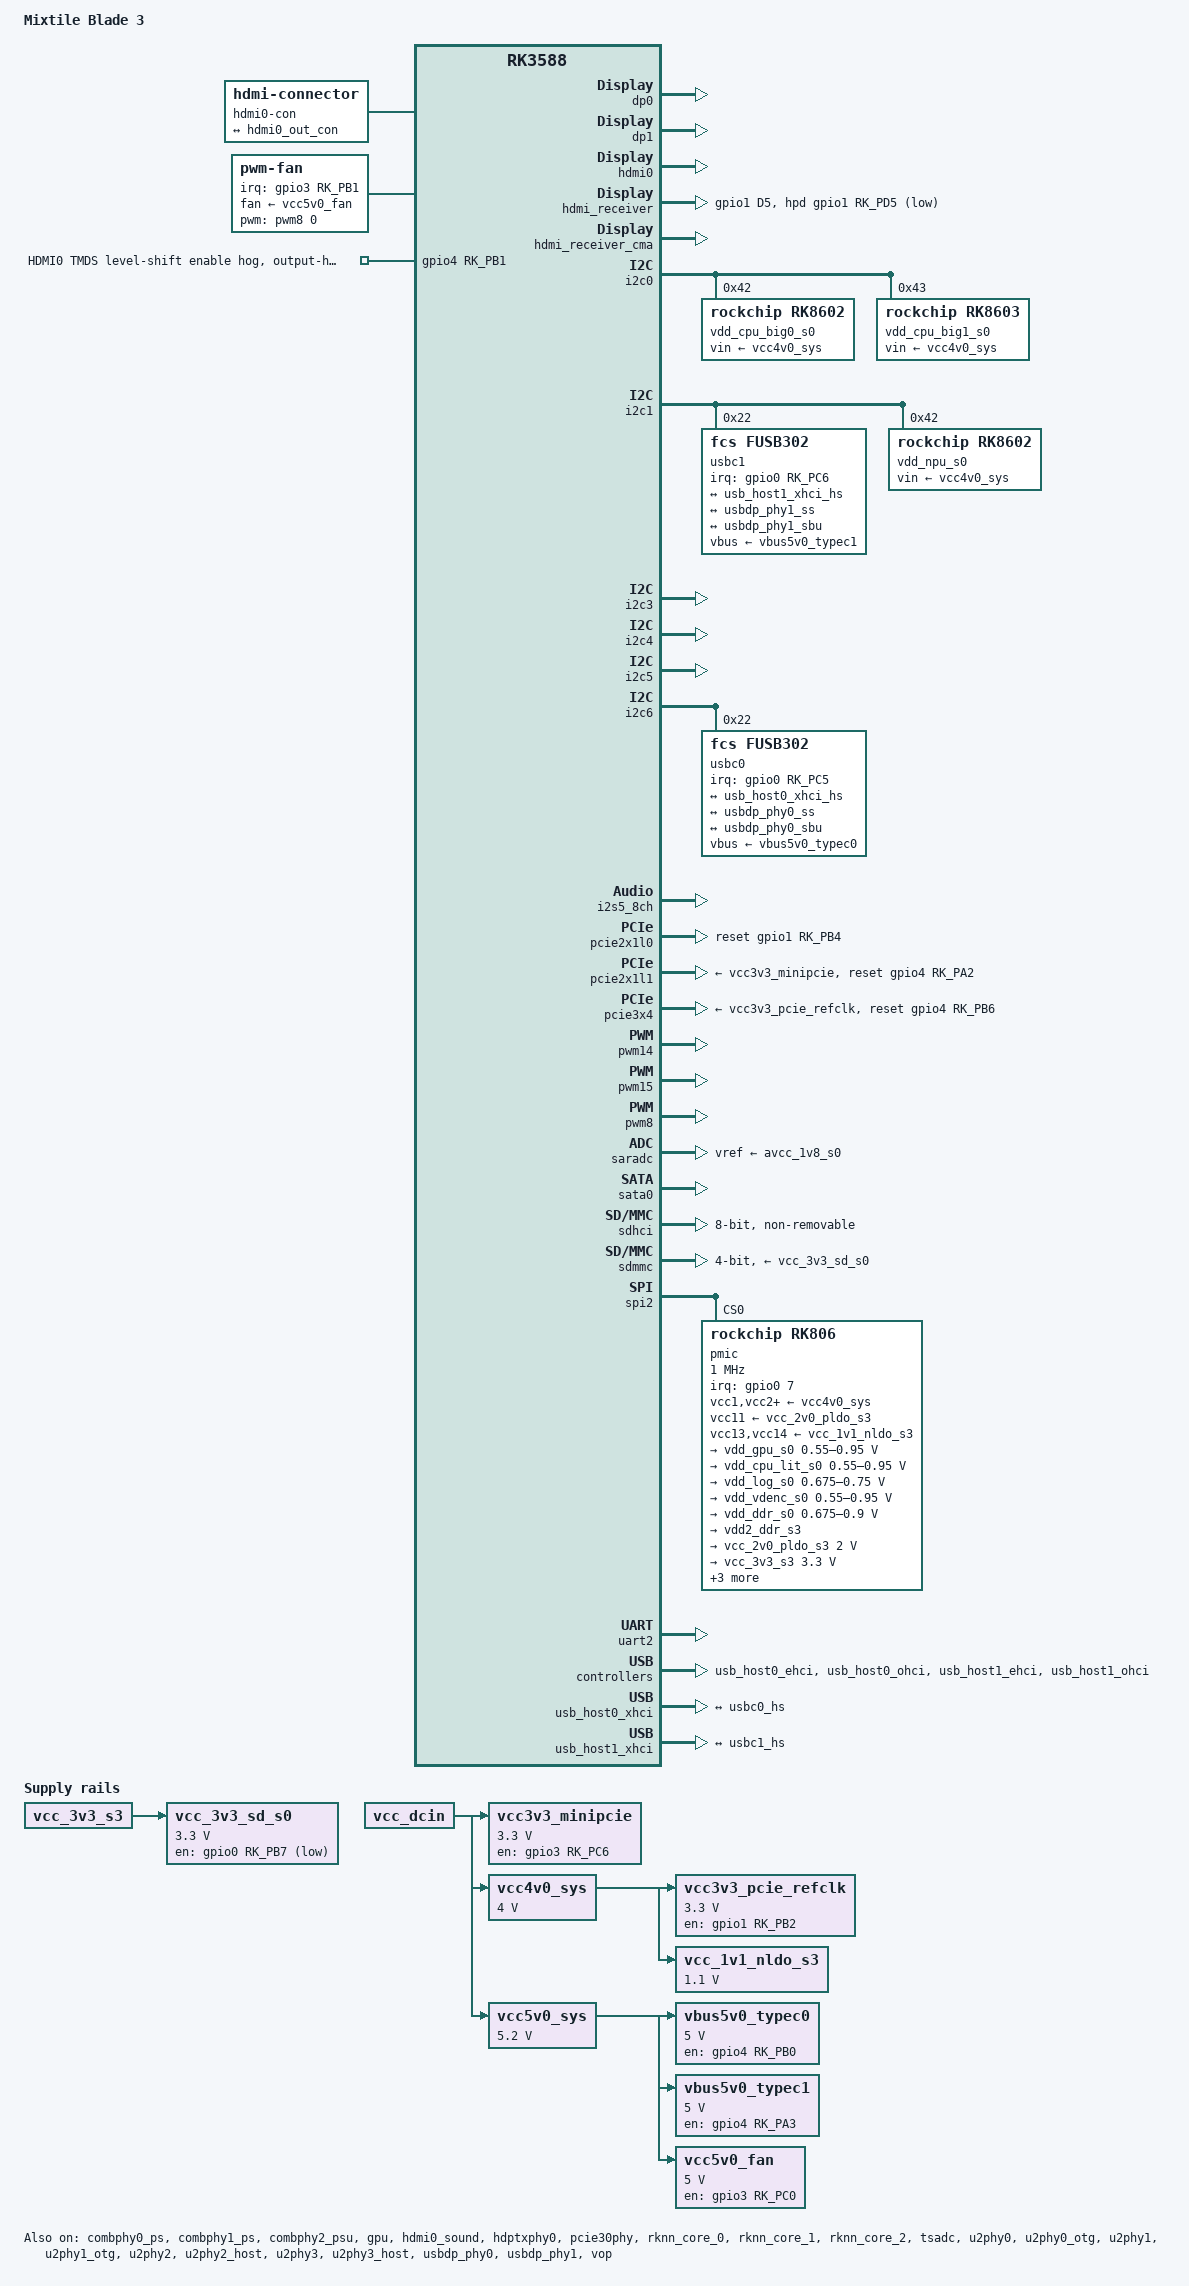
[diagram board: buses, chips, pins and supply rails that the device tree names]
// SPDX-License-Identifier: (GPL-2.0+ OR MIT)
/*
 * Copyright (c) 2026 Mixtile Limited
 */

/dts-v1/;

#include <dt-bindings/gpio/gpio.h>
#include <dt-bindings/interrupt-controller/irq.h>
#include <dt-bindings/pinctrl/rockchip.h>
#include <dt-bindings/soc/rockchip,vop2.h>
#include <dt-bindings/thermal/thermal.h>
#include <dt-bindings/usb/pd.h>
#include "rk3588.dtsi"

/ {
	model = "Mixtile Blade 3";
	compatible = "mixtile,blade3", "rockchip,rk3588";

	aliases {
		mmc0 = &sdhci;
		mmc1 = &sdmmc;
	};

	chosen {
		stdout-path = "serial2:1500000n8";
	};

	hdmi0-con {
		compatible = "hdmi-connector";
		type = "a";

		port {
			hdmi0_con_in: endpoint {
				remote-endpoint = <&hdmi0_out_con>;
			};
		};
	};

	fan: pwm-fan {
		compatible = "pwm-fan";
		#cooling-cells = <2>;
		cooling-levels = <0 80 130 190 255>;
		fan-supply = <&vcc5v0_fan>;
		interrupt-parent = <&gpio3>;
		interrupts = <RK_PB1 IRQ_TYPE_EDGE_FALLING>;
		pinctrl-names = "default";
		pinctrl-0 = <&fan_tach>;
		pulses-per-revolution = <2>;
		pwms = <&pwm8 0 40000 0>;
	};

	vbus5v0_typec0: regulator-vbus5v0-typec0 {
		compatible = "regulator-fixed";
		enable-active-high;
		gpio = <&gpio4 RK_PB0 GPIO_ACTIVE_HIGH>;
		pinctrl-names = "default";
		pinctrl-0 = <&typec5v_pwren0>;
		regulator-name = "vbus5v0_typec0";
		regulator-min-microvolt = <5000000>;
		regulator-max-microvolt = <5000000>;
		vin-supply = <&vcc5v0_sys>;
	};

	vbus5v0_typec1: regulator-vbus5v0-typec1 {
		compatible = "regulator-fixed";
		enable-active-high;
		gpio = <&gpio4 RK_PA3 GPIO_ACTIVE_HIGH>;
		pinctrl-names = "default";
		pinctrl-0 = <&typec5v_pwren1>;
		regulator-name = "vbus5v0_typec1";
		regulator-min-microvolt = <5000000>;
		regulator-max-microvolt = <5000000>;
		vin-supply = <&vcc5v0_sys>;
	};

	vcc3v3_minipcie: regulator-vcc3v3-minipcie {
		compatible = "regulator-fixed";
		enable-active-high;
		gpio = <&gpio3 RK_PC6 GPIO_ACTIVE_HIGH>;
		pinctrl-names = "default";
		pinctrl-0 = <&pcie20_pwren>;
		regulator-name = "vcc3v3_minipcie";
		regulator-always-on;
		regulator-boot-on;
		regulator-min-microvolt = <3300000>;
		regulator-max-microvolt = <3300000>;
		startup-delay-us = <5000>;
		vin-supply = <&vcc_dcin>;
	};

	vcc3v3_pcie_refclk: regulator-vcc3v3-pcie-refclk {
		compatible = "regulator-fixed";
		enable-active-high;
		gpio = <&gpio1 RK_PB2 GPIO_ACTIVE_HIGH>;
		pinctrl-names = "default";
		pinctrl-0 = <&pcie30_pwren>;
		regulator-name = "vcc3v3_pcie_refclk";
		regulator-min-microvolt = <3300000>;
		regulator-max-microvolt = <3300000>;
		startup-delay-us = <10000>;
		vin-supply = <&vcc4v0_sys>;
	};

	vcc4v0_sys: regulator-vcc4v0-sys {
		compatible = "regulator-fixed";
		regulator-name = "vcc4v0_sys";
		regulator-always-on;
		regulator-boot-on;
		regulator-min-microvolt = <4000000>;
		regulator-max-microvolt = <4000000>;
		vin-supply = <&vcc_dcin>;
	};

	vcc5v0_fan: regulator-vcc5v0-fan {
		compatible = "regulator-fixed";
		enable-active-high;
		gpio = <&gpio3 RK_PC0 GPIO_ACTIVE_HIGH>;
		pinctrl-names = "default";
		pinctrl-0 = <&fan_pwren>;
		regulator-name = "vcc5v0_fan";
		regulator-min-microvolt = <5000000>;
		regulator-max-microvolt = <5000000>;
		vin-supply = <&vcc5v0_sys>;
	};

	vcc5v0_sys: regulator-vcc5v0-sys {
		compatible = "regulator-fixed";
		regulator-name = "vcc5v0_sys";
		regulator-always-on;
		regulator-boot-on;
		regulator-min-microvolt = <5200000>;
		regulator-max-microvolt = <5200000>;
		vin-supply = <&vcc_dcin>;
	};

	vcc_1v1_nldo_s3: regulator-vcc-1v1-nldo-s3 {
		compatible = "regulator-fixed";
		regulator-name = "vcc_1v1_nldo_s3";
		regulator-always-on;
		regulator-boot-on;
		regulator-min-microvolt = <1100000>;
		regulator-max-microvolt = <1100000>;
		vin-supply = <&vcc4v0_sys>;
	};

	vcc_3v3_sd_s0: regulator-vcc-3v3-sd-s0 {
		compatible = "regulator-fixed";
		gpio = <&gpio0 RK_PB7 GPIO_ACTIVE_LOW>;
		pinctrl-names = "default";
		pinctrl-0 = <&sdmmc_pwren>;
		regulator-name = "vcc_3v3_sd_s0";
		regulator-min-microvolt = <3300000>;
		regulator-max-microvolt = <3300000>;
		startup-delay-us = <2000>;
		vin-supply = <&vcc_3v3_s3>;
	};

	vcc_dcin: regulator-vcc-dcin {
		compatible = "regulator-fixed";
		regulator-name = "vcc_dcin";
		regulator-always-on;
		regulator-boot-on;
	};
};

&combphy0_ps {
	status = "okay";
};

&combphy1_ps {
	status = "okay";
};

&combphy2_psu {
	status = "okay";
};

&cpu_b0 {
	cpu-supply = <&vdd_cpu_big0_s0>;
};

&cpu_b1 {
	cpu-supply = <&vdd_cpu_big0_s0>;
};

&cpu_b2 {
	cpu-supply = <&vdd_cpu_big1_s0>;
};

&cpu_b3 {
	cpu-supply = <&vdd_cpu_big1_s0>;
};

&cpu_l0 {
	cpu-supply = <&vdd_cpu_lit_s0>;
};

&cpu_l1 {
	cpu-supply = <&vdd_cpu_lit_s0>;
};

&cpu_l2 {
	cpu-supply = <&vdd_cpu_lit_s0>;
};

&cpu_l3 {
	cpu-supply = <&vdd_cpu_lit_s0>;
};

&dp0 {
	status = "okay";
};

&dp0_in {
	dp0_in_vp1: endpoint {
		remote-endpoint = <&vp1_out_dp0>;
	};
};

&dp1 {
	status = "okay";
};

&dp1_in {
	dp1_in_vp2: endpoint {
		remote-endpoint = <&vp2_out_dp1>;
	};
};

&gpio4 {
	hdmi0-tmds-hog {
		gpios = <RK_PB1 GPIO_ACTIVE_HIGH>;
		line-name = "HDMI0 TMDS level-shift enable";
		output-high;
		gpio-hog;
	};
};

&gpu {
	mali-supply = <&vdd_gpu_s0>;
	status = "okay";
};

&hdmi0 {
	status = "okay";
};

&hdmi0_in {
	hdmi0_in_vp0: endpoint {
		remote-endpoint = <&vp0_out_hdmi0>;
	};
};

&hdmi0_out {
	hdmi0_out_con: endpoint {
		remote-endpoint = <&hdmi0_con_in>;
	};
};

&hdmi0_sound {
	status = "okay";
};

&hdmi_receiver {
	hpd-gpios = <&gpio1 RK_PD5 GPIO_ACTIVE_LOW>;
	pinctrl-names = "default";
	pinctrl-0 = <&hdmim1_rx_cec &hdmim1_rx_hpdin &hdmim1_rx_scl
		     &hdmim1_rx_sda &hdmirx_det>;
	status = "okay";
};

&hdmi_receiver_cma {
	status = "okay";
};

&hdptxphy0 {
	status = "okay";
};

&i2c0 {
	pinctrl-names = "default";
	pinctrl-0 = <&i2c0m2_xfer>;
	status = "okay";

	vdd_cpu_big0_s0: regulator@42 {
		compatible = "rockchip,rk8602";
		reg = <0x42>;
		fcs,suspend-voltage-selector = <1>;
		regulator-name = "vdd_cpu_big0_s0";
		regulator-always-on;
		regulator-boot-on;
		regulator-min-microvolt = <550000>;
		regulator-max-microvolt = <1050000>;
		regulator-ramp-delay = <2300>;
		vin-supply = <&vcc4v0_sys>;

		regulator-state-mem {
			regulator-off-in-suspend;
		};
	};

	vdd_cpu_big1_s0: regulator@43 {
		compatible = "rockchip,rk8603", "rockchip,rk8602";
		reg = <0x43>;
		fcs,suspend-voltage-selector = <1>;
		regulator-name = "vdd_cpu_big1_s0";
		regulator-always-on;
		regulator-boot-on;
		regulator-min-microvolt = <550000>;
		regulator-max-microvolt = <1050000>;
		regulator-ramp-delay = <2300>;
		vin-supply = <&vcc4v0_sys>;

		regulator-state-mem {
			regulator-off-in-suspend;
		};
	};
};

&i2c1 {
	pinctrl-names = "default";
	pinctrl-0 = <&i2c1m2_xfer>;
	status = "okay";

	usbc1: usb-typec@22 {
		compatible = "fcs,fusb302";
		reg = <0x22>;
		interrupt-parent = <&gpio0>;
		interrupts = <RK_PC6 IRQ_TYPE_LEVEL_LOW>;
		pinctrl-names = "default";
		pinctrl-0 = <&usbc1_int>;
		vbus-supply = <&vbus5v0_typec1>;

		usb_con1: connector {
			compatible = "usb-c-connector";
			label = "USB-C1";
			data-role = "dual";
			op-sink-microwatt = <15000000>;
			pd-revision = /bits/ 8 <0x2 0x0 0x1 0x2>;
			power-role = "dual";
			sink-pdos =
				<PDO_FIXED(5000, 3000, PDO_FIXED_USB_COMM)>,
				<PDO_VAR(5000, 20000, 3000)>;
			source-pdos =
				<PDO_FIXED(5000, 1000, PDO_FIXED_USB_COMM)>;
			try-power-role = "sink";

			altmodes {
				displayport {
					svid = /bits/ 16 <0xff01>;
					vdo = <0xffffffff>;
				};
			};

			ports {
				#address-cells = <1>;
				#size-cells = <0>;

				port@0 {
					reg = <0>;

					usbc1_hs: endpoint {
						remote-endpoint = <&usb_host1_xhci_hs>;
					};
				};

				port@1 {
					reg = <1>;

					usbc1_ss: endpoint {
						remote-endpoint = <&usbdp_phy1_ss>;
					};
				};

				port@2 {
					reg = <2>;

					usbc1_sbu: endpoint {
						remote-endpoint = <&usbdp_phy1_sbu>;
					};
				};
			};
		};
	};

	vdd_npu_s0: regulator@42 {
		compatible = "rockchip,rk8602";
		reg = <0x42>;
		fcs,suspend-voltage-selector = <1>;
		regulator-name = "vdd_npu_s0";
		regulator-always-on;
		regulator-boot-on;
		regulator-min-microvolt = <550000>;
		regulator-max-microvolt = <950000>;
		regulator-ramp-delay = <2300>;
		vin-supply = <&vcc4v0_sys>;

		regulator-state-mem {
			regulator-off-in-suspend;
		};
	};
};

&i2c3 {
	pinctrl-names = "default";
	pinctrl-0 = <&i2c3m3_xfer>;
	status = "okay";
};

&i2c4 {
	pinctrl-names = "default";
	pinctrl-0 = <&i2c4m0_xfer>;
	status = "okay";
};

&i2c5 {
	pinctrl-names = "default";
	pinctrl-0 = <&i2c5m3_xfer>;
	status = "okay";
};

&i2c6 {
	pinctrl-names = "default";
	pinctrl-0 = <&i2c6m0_xfer>;
	status = "okay";

	usbc0: usb-typec@22 {
		compatible = "fcs,fusb302";
		reg = <0x22>;
		interrupt-parent = <&gpio0>;
		interrupts = <RK_PC5 IRQ_TYPE_LEVEL_LOW>;
		pinctrl-names = "default";
		pinctrl-0 = <&usbc0_int>;
		vbus-supply = <&vbus5v0_typec0>;

		usb_con0: connector {
			compatible = "usb-c-connector";
			label = "USB-C0";
			data-role = "dual";
			op-sink-microwatt = <1000000>;
			pd-revision = /bits/ 8 <0x2 0x0 0x1 0x2>;
			power-role = "dual";
			sink-pdos =
				<PDO_FIXED(5000, 1000, PDO_FIXED_USB_COMM)>;
			source-pdos =
				<PDO_FIXED(5000, 1000, PDO_FIXED_USB_COMM)>;
			try-power-role = "sink";

			altmodes {
				displayport {
					svid = /bits/ 16 <0xff01>;
					vdo = <0xffffffff>;
				};
			};

			ports {
				#address-cells = <1>;
				#size-cells = <0>;

				port@0 {
					reg = <0>;

					usbc0_hs: endpoint {
						remote-endpoint = <&usb_host0_xhci_hs>;
					};
				};

				port@1 {
					reg = <1>;

					usbc0_ss: endpoint {
						remote-endpoint = <&usbdp_phy0_ss>;
					};
				};

				port@2 {
					reg = <2>;

					usbc0_sbu: endpoint {
						remote-endpoint = <&usbdp_phy0_sbu>;
					};
				};
			};
		};
	};
};

&i2s5_8ch {
	status = "okay";
};

&package_thermal {
	polling-delay = <1000>;

	cooling-maps {
		map0 {
			trip = <&package_fan0>;
			cooling-device = <&fan THERMAL_NO_LIMIT 1>;
		};

		map1 {
			trip = <&package_fan1>;
			cooling-device = <&fan 2 THERMAL_NO_LIMIT>;
		};
	};

	trips {
		package_fan0: package-fan0 {
			temperature = <55000>;
			hysteresis = <2000>;
			type = "active";
		};

		package_fan1: package-fan1 {
			temperature = <70000>;
			hysteresis = <2000>;
			type = "active";
		};
	};
};

&pcie2x1l0 {
	reset-gpios = <&gpio1 RK_PB4 GPIO_ACTIVE_HIGH>;
	status = "okay";
};

&pcie2x1l1 {
	reset-gpios = <&gpio4 RK_PA2 GPIO_ACTIVE_HIGH>;
	vpcie3v3-supply = <&vcc3v3_minipcie>;
	status = "okay";
};

&pcie30phy {
	status = "okay";
};

&pcie3x4 {
	reset-gpios = <&gpio4 RK_PB6 GPIO_ACTIVE_HIGH>;
	vpcie3v3-supply = <&vcc3v3_pcie_refclk>;
	status = "okay";
};

&pinctrl {
	fan {
		fan_tach: fan-tach {
			rockchip,pins = <3 RK_PB1 RK_FUNC_GPIO &pcfg_pull_none>;
		};

		fan_pwren: fan-pwren {
			rockchip,pins = <3 RK_PC0 RK_FUNC_GPIO &pcfg_pull_none>;
		};
	};

	hdmirx {
		hdmirx_det: hdmirx-det {
			rockchip,pins = <1 RK_PD5 RK_FUNC_GPIO &pcfg_pull_none>;
		};
	};

	pcie {
		pcie30_pwren: pcie30-pwren {
			rockchip,pins = <1 RK_PB2 RK_FUNC_GPIO &pcfg_pull_none>;
		};

		pcie20_pwren: pcie20-pwren {
			rockchip,pins = <3 RK_PC6 RK_FUNC_GPIO &pcfg_pull_none>;
		};
	};

	sdmmc {
		sdmmc_pwren: sdmmc-pwren {
			rockchip,pins = <0 RK_PB7 RK_FUNC_GPIO &pcfg_pull_up>;
		};
	};

	usb-typec {
		usbc0_int: usbc0-int {
			rockchip,pins = <0 RK_PC5 RK_FUNC_GPIO &pcfg_pull_up>;
		};

		usbc1_int: usbc1-int {
			rockchip,pins = <0 RK_PC6 RK_FUNC_GPIO &pcfg_pull_up>;
		};

		typec5v_pwren0: typec5v-pwren0 {
			rockchip,pins = <4 RK_PB0 RK_FUNC_GPIO &pcfg_pull_none>;
		};

		typec5v_pwren1: typec5v-pwren1 {
			rockchip,pins = <4 RK_PA3 RK_FUNC_GPIO &pcfg_pull_none>;
		};
	};
};

&pwm14 {
	pinctrl-names = "default";
	pinctrl-0 = <&pwm14m2_pins>;
	status = "okay";
};

&pwm15 {
	pinctrl-names = "default";
	pinctrl-0 = <&pwm15m3_pins>;
	status = "okay";
};

&pwm8 {
	pinctrl-names = "default";
	pinctrl-0 = <&pwm8m2_pins>;
	status = "okay";
};

&rknn_core_0 {
	npu-supply = <&vdd_npu_s0>;
	sram-supply = <&vdd_npu_s0>;
	status = "okay";
};

&rknn_core_1 {
	npu-supply = <&vdd_npu_s0>;
	sram-supply = <&vdd_npu_s0>;
	status = "okay";
};

&rknn_core_2 {
	npu-supply = <&vdd_npu_s0>;
	sram-supply = <&vdd_npu_s0>;
	status = "okay";
};

&rknn_mmu_0 {
	status = "okay";
};

&rknn_mmu_1 {
	status = "okay";
};

&rknn_mmu_2 {
	status = "okay";
};

&saradc {
	vref-supply = <&avcc_1v8_s0>;
	status = "okay";
};

&sata0 {
	status = "okay";
};

&sdhci {
	bus-width = <8>;
	no-sd;
	no-sdio;
	non-removable;
	status = "okay";
};

&sdmmc {
	bus-width = <4>;
	cap-sd-highspeed;
	disable-wp;
	max-frequency = <150000000>;
	no-mmc;
	no-sdio;
	sd-uhs-sdr104;
	vmmc-supply = <&vcc_3v3_sd_s0>;
	vqmmc-supply = <&vccio_sd_s0>;
	status = "okay";
};

&spi2 {
	assigned-clocks = <&cru CLK_SPI2>;
	assigned-clock-rates = <200000000>;
	num-cs = <1>;
	pinctrl-names = "default";
	pinctrl-0 = <&spi2m2_cs0 &spi2m2_pins>;
	status = "okay";

	pmic@0 {
		compatible = "rockchip,rk806";
		reg = <0x0>;
		gpio-controller;
		#gpio-cells = <2>;
		interrupt-parent = <&gpio0>;
		interrupts = <7 IRQ_TYPE_LEVEL_LOW>;
		pinctrl-names = "default";
		pinctrl-0 = <&pmic_pins>, <&rk806_dvs1_null>,
			    <&rk806_dvs2_null>, <&rk806_dvs3_null>;
		spi-max-frequency = <1000000>;
		system-power-controller;

		vcc1-supply = <&vcc4v0_sys>;
		vcc2-supply = <&vcc4v0_sys>;
		vcc3-supply = <&vcc4v0_sys>;
		vcc4-supply = <&vcc4v0_sys>;
		vcc5-supply = <&vcc4v0_sys>;
		vcc6-supply = <&vcc4v0_sys>;
		vcc7-supply = <&vcc4v0_sys>;
		vcc8-supply = <&vcc4v0_sys>;
		vcc9-supply = <&vcc4v0_sys>;
		vcc10-supply = <&vcc4v0_sys>;
		vcc11-supply = <&vcc_2v0_pldo_s3>;
		vcc12-supply = <&vcc4v0_sys>;
		vcc13-supply = <&vcc_1v1_nldo_s3>;
		vcc14-supply = <&vcc_1v1_nldo_s3>;
		vcca-supply = <&vcc4v0_sys>;

		rk806_dvs1_null: dvs1-null-pins {
			pins = "gpio_pwrctrl1";
			function = "pin_fun0";
		};

		rk806_dvs2_null: dvs2-null-pins {
			pins = "gpio_pwrctrl2";
			function = "pin_fun0";
		};

		rk806_dvs3_null: dvs3-null-pins {
			pins = "gpio_pwrctrl3";
			function = "pin_fun0";
		};

		regulators {
			vdd_gpu_s0: dcdc-reg1 {
				regulator-boot-on;
				regulator-min-microvolt = <550000>;
				regulator-max-microvolt = <950000>;
				regulator-ramp-delay = <12500>;
				regulator-name = "vdd_gpu_s0";
				regulator-enable-ramp-delay = <400>;

				regulator-state-mem {
					regulator-off-in-suspend;
				};
			};

			vdd_cpu_lit_s0: dcdc-reg2 {
				regulator-always-on;
				regulator-boot-on;
				regulator-min-microvolt = <550000>;
				regulator-max-microvolt = <950000>;
				regulator-ramp-delay = <12500>;
				regulator-name = "vdd_cpu_lit_s0";

				regulator-state-mem {
					regulator-off-in-suspend;
				};
			};

			vdd_log_s0: dcdc-reg3 {
				regulator-always-on;
				regulator-boot-on;
				regulator-min-microvolt = <675000>;
				regulator-max-microvolt = <750000>;
				regulator-ramp-delay = <12500>;
				regulator-name = "vdd_log_s0";

				regulator-state-mem {
					regulator-on-in-suspend;
					regulator-suspend-microvolt = <750000>;
				};
			};

			vdd_vdenc_s0: dcdc-reg4 {
				regulator-always-on;
				regulator-boot-on;
				regulator-min-microvolt = <550000>;
				regulator-max-microvolt = <950000>;
				regulator-ramp-delay = <12500>;
				regulator-name = "vdd_vdenc_s0";

				regulator-state-mem {
					regulator-off-in-suspend;
				};
			};

			vdd_ddr_s0: dcdc-reg5 {
				regulator-always-on;
				regulator-boot-on;
				regulator-min-microvolt = <675000>;
				regulator-max-microvolt = <900000>;
				regulator-ramp-delay = <12500>;
				regulator-name = "vdd_ddr_s0";

				regulator-state-mem {
					regulator-off-in-suspend;
					regulator-suspend-microvolt = <850000>;
				};
			};

			vdd2_ddr_s3: dcdc-reg6 {
				regulator-always-on;
				regulator-boot-on;
				regulator-name = "vdd2_ddr_s3";

				regulator-state-mem {
					regulator-on-in-suspend;
				};
			};

			vcc_2v0_pldo_s3: dcdc-reg7 {
				regulator-always-on;
				regulator-boot-on;
				regulator-min-microvolt = <2000000>;
				regulator-max-microvolt = <2000000>;
				regulator-ramp-delay = <12500>;
				regulator-name = "vcc_2v0_pldo_s3";

				regulator-state-mem {
					regulator-on-in-suspend;
					regulator-suspend-microvolt = <2000000>;
				};
			};

			vcc_3v3_s3: dcdc-reg8 {
				regulator-always-on;
				regulator-boot-on;
				regulator-min-microvolt = <3300000>;
				regulator-max-microvolt = <3300000>;
				regulator-name = "vcc_3v3_s3";

				regulator-state-mem {
					regulator-on-in-suspend;
					regulator-suspend-microvolt = <3300000>;
				};
			};

			vddq_ddr_s0: dcdc-reg9 {
				regulator-always-on;
				regulator-boot-on;
				regulator-name = "vddq_ddr_s0";

				regulator-state-mem {
					regulator-off-in-suspend;
				};
			};

			vcc_1v8_s3: dcdc-reg10 {
				regulator-always-on;
				regulator-boot-on;
				regulator-min-microvolt = <1800000>;
				regulator-max-microvolt = <1800000>;
				regulator-name = "vcc_1v8_s3";

				regulator-state-mem {
					regulator-on-in-suspend;
					regulator-suspend-microvolt = <1800000>;
				};
			};

			avcc_1v8_s0: pldo-reg1 {
				regulator-always-on;
				regulator-boot-on;
				regulator-min-microvolt = <1800000>;
				regulator-max-microvolt = <1800000>;
				regulator-name = "avcc_1v8_s0";

				regulator-state-mem {
					regulator-on-in-suspend;
					regulator-suspend-microvolt = <1800000>;
				};
			};

			vcc_1v8_s0: pldo-reg2 {
				regulator-always-on;
				regulator-boot-on;
				regulator-min-microvolt = <1800000>;
				regulator-max-microvolt = <1800000>;
				regulator-name = "vcc_1v8_s0";

				regulator-state-mem {
					regulator-on-in-suspend;
					regulator-suspend-microvolt = <1800000>;
				};
			};

			avdd_1v2_s0: pldo-reg3 {
				regulator-always-on;
				regulator-boot-on;
				regulator-min-microvolt = <1200000>;
				regulator-max-microvolt = <1200000>;
				regulator-name = "avdd_1v2_s0";

				regulator-state-mem {
					regulator-off-in-suspend;
				};
			};

			avcc_3v3_s0: pldo-reg4 {
				regulator-always-on;
				regulator-boot-on;
				regulator-min-microvolt = <3300000>;
				regulator-max-microvolt = <3300000>;
				regulator-ramp-delay = <12500>;
				regulator-name = "avcc_3v3_s0";

				regulator-state-mem {
					regulator-on-in-suspend;
					regulator-suspend-microvolt = <3300000>;
				};
			};

			vccio_sd_s0: pldo-reg5 {
				regulator-always-on;
				regulator-boot-on;
				regulator-min-microvolt = <1800000>;
				regulator-max-microvolt = <3300000>;
				regulator-ramp-delay = <12500>;
				regulator-name = "vccio_sd_s0";

				regulator-state-mem {
					regulator-off-in-suspend;
				};
			};

			pldo6_s3: pldo-reg6 {
				regulator-always-on;
				regulator-boot-on;
				regulator-min-microvolt = <1800000>;
				regulator-max-microvolt = <1800000>;
				regulator-name = "pldo6_s3";

				regulator-state-mem {
					regulator-on-in-suspend;
					regulator-suspend-microvolt = <1800000>;
				};
			};

			vdd_0v75_s3: nldo-reg1 {
				regulator-always-on;
				regulator-boot-on;
				regulator-min-microvolt = <750000>;
				regulator-max-microvolt = <750000>;
				regulator-name = "vdd_0v75_s3";

				regulator-state-mem {
					regulator-on-in-suspend;
					regulator-suspend-microvolt = <750000>;
				};
			};

			vdd_ddr_pll_s0: nldo-reg2 {
				regulator-always-on;
				regulator-boot-on;
				regulator-min-microvolt = <850000>;
				regulator-max-microvolt = <850000>;
				regulator-name = "vdd_ddr_pll_s0";

				regulator-state-mem {
					regulator-on-in-suspend;
					regulator-suspend-microvolt = <850000>;
				};
			};

			avdd_0v75_s0: nldo-reg3 {
				regulator-always-on;
				regulator-boot-on;
				regulator-min-microvolt = <750000>;
				regulator-max-microvolt = <750000>;
				regulator-name = "avdd_0v75_s0";

				regulator-state-mem {
					regulator-off-in-suspend;
				};
			};

			avdd_0v85_s0: nldo-reg4 {
				regulator-always-on;
				regulator-boot-on;
				regulator-min-microvolt = <850000>;
				regulator-max-microvolt = <850000>;
				regulator-name = "avdd_0v85_s0";

				regulator-state-mem {
					regulator-on-in-suspend;
					regulator-suspend-microvolt = <837500>;
				};
			};

			vdd_0v75_s0: nldo-reg5 {
				regulator-always-on;
				regulator-boot-on;
				regulator-min-microvolt = <750000>;
				regulator-max-microvolt = <750000>;
				regulator-name = "vdd_0v75_s0";

				regulator-state-mem {
					regulator-on-in-suspend;
					regulator-suspend-microvolt = <750000>;
				};
			};
		};
	};
};

&tsadc {
	rockchip,hw-tshut-mode = <1>;
	rockchip,hw-tshut-polarity = <0>;
	status = "okay";
};

&u2phy0 {
	status = "okay";
};

&u2phy0_otg {
	status = "okay";
};

&u2phy1 {
	status = "okay";
};

&u2phy1_otg {
	status = "okay";
};

&u2phy2 {
	status = "okay";
};

&u2phy2_host {
	status = "okay";
};

&u2phy3 {
	status = "okay";
};

&u2phy3_host {
	status = "okay";
};

&uart2 {
	pinctrl-names = "default";
	pinctrl-0 = <&uart2m0_xfer>;
	status = "okay";
};

&usb_host0_ehci {
	status = "okay";
};

&usb_host0_ohci {
	status = "okay";
};

&usb_host0_xhci {
	usb-role-switch;
	status = "okay";

	port {
		usb_host0_xhci_hs: endpoint {
			remote-endpoint = <&usbc0_hs>;
		};
	};
};

&usb_host1_ehci {
	status = "okay";
};

&usb_host1_ohci {
	status = "okay";
};

&usb_host1_xhci {
	usb-role-switch;
	status = "okay";

	port {
		usb_host1_xhci_hs: endpoint {
			remote-endpoint = <&usbc1_hs>;
		};
	};
};

&usbdp_phy0 {
	mode-switch;
	orientation-switch;
	sbu1-dc-gpios = <&gpio4 RK_PA6 GPIO_ACTIVE_HIGH>;
	sbu2-dc-gpios = <&gpio4 RK_PA7 GPIO_ACTIVE_HIGH>;
	status = "okay";

	port {
		#address-cells = <1>;
		#size-cells = <0>;

		usbdp_phy0_ss: endpoint@0 {
			reg = <0>;
			remote-endpoint = <&usbc0_ss>;
		};

		usbdp_phy0_sbu: endpoint@1 {
			reg = <1>;
			remote-endpoint = <&usbc0_sbu>;
		};
	};
};

&usbdp_phy1 {
	mode-switch;
	orientation-switch;
	sbu1-dc-gpios = <&gpio4 RK_PA4 GPIO_ACTIVE_HIGH>;
	sbu2-dc-gpios = <&gpio4 RK_PA5 GPIO_ACTIVE_HIGH>;
	status = "okay";

	port {
		#address-cells = <1>;
		#size-cells = <0>;

		usbdp_phy1_ss: endpoint@0 {
			reg = <0>;
			remote-endpoint = <&usbc1_ss>;
		};

		usbdp_phy1_sbu: endpoint@1 {
			reg = <1>;
			remote-endpoint = <&usbc1_sbu>;
		};
	};
};

&vop {
	status = "okay";
};

&vop_mmu {
	status = "okay";
};

&vp0 {
	vp0_out_hdmi0: endpoint@ROCKCHIP_VOP2_EP_HDMI0 {
		reg = <ROCKCHIP_VOP2_EP_HDMI0>;
		remote-endpoint = <&hdmi0_in_vp0>;
	};
};

&vp1 {
	vp1_out_dp0: endpoint@a {
		reg = <ROCKCHIP_VOP2_EP_DP0>;
		remote-endpoint = <&dp0_in_vp1>;
	};
};

&vp2 {
	vp2_out_dp1: endpoint@b {
		reg = <ROCKCHIP_VOP2_EP_DP1>;
		remote-endpoint = <&dp1_in_vp2>;
	};
};
